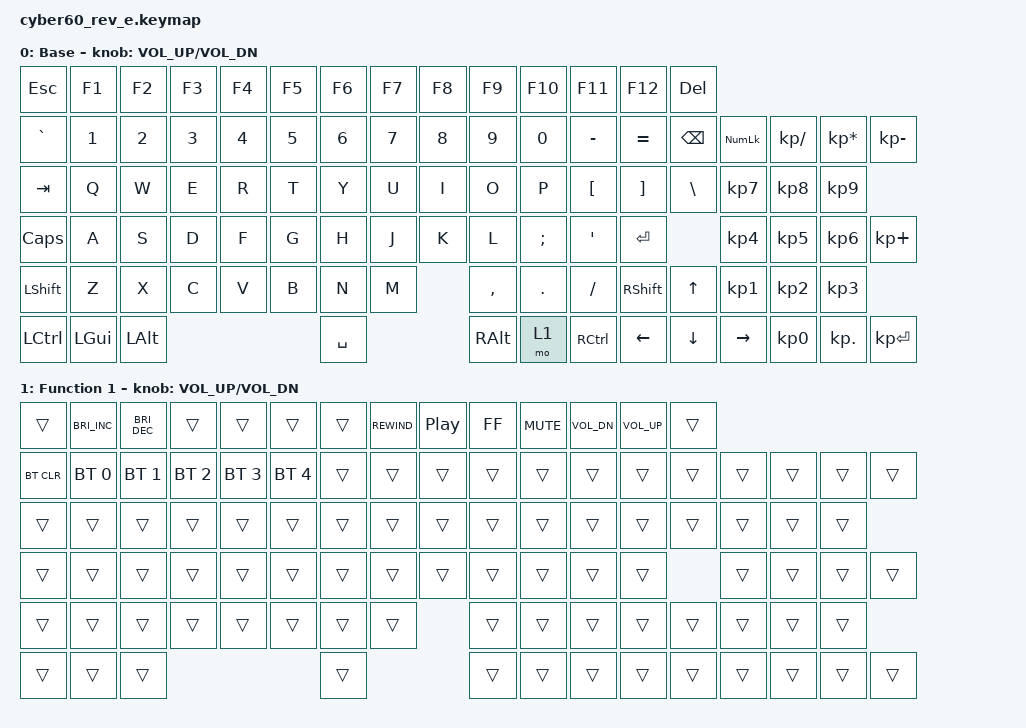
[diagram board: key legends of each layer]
#include <behaviors.dtsi>
#include <dt-bindings/zmk/bt.h>
#include <dt-bindings/zmk/keys.h>
#include <dt-bindings/zmk/rgb.h>



/ {  
    sensors: sensors {
        compatible = "zmk,keymap-sensors";
        sensors = <&encoder_1>;
        triggers-per-rotation = <20>;
    };
 
    keymap {
        compatible = "zmk,keymap";
        default_layer {
           // Layer 0, default layer
    // | Esc  |  F1  |  F2  |  F3  |  F4  |  F5  |  F6  |  F7  |  F8  |  F9  |  F10 |  F11 |  F12 |Print | Home | End  |Insert|Delete| PgUp | 19 keys
    // |  ~`  |   1  |   2  |   3  |   4  |   5  |   6  |   7  |   8  |   9  |    0 |    - |    = |    BkSpc    |NumLck|   /  |   *  | PgDn | 18 keys
    // |   Tab   |   Q  |   W  |   E  |   R  |   T  |   Y  |   U  |   I  |   O  |    P |    { |    } |     \    |  7   |   8  |   9  |   -  | 18 keys
    // |   Caps   |   A  |   S  |   D  |   F  |   G  |   H  |   J  |   K  |   L  |    ; |   '  |     Return     |  4   |   5  |   6  |   +  | 17 keys
    //  |    LShft     |   Z  |   X  |   C  |   V  |   B  |   N  |   M  |   ,  |   .  |   /  |       RShft       |  1   |   2  |   3  |  En  | 16 keys
    //  | Ctrl  |  Win  |  Alt  |                  Space                      |  Fn  |  Win | Left | Down |  Up  | Right|   0  |   .  |      | 12 keys
            display-name = "Base";
            bindings = <
&kp ESC     &kp F1    &kp F2    &kp F3     &kp F4      &kp F5      &kp F6        &kp F7      &kp F8      &kp  F9     &kp F10        &kp F11      &kp F12       &kp DEL   
&kp GRAVE   &kp N1    &kp N2    &kp N3     &kp N4      &kp N5      &kp N6        &kp N7      &kp N8      &kp  N9     &kp N0         &kp MINUS    &kp EQUAL     &kp BSPC      &kp KP_NLCK    &kp KP_DIVIDE      &kp KP_MULTIPLY     &kp KP_MINUS
&kp TAB     &kp Q     &kp W     &kp E      &kp R       &kp T       &kp Y         &kp U       &kp I       &kp  O      &kp P          &kp LBKT     &kp RBKT      &kp BSLH      &kp KP_N7      &kp KP_N8          &kp KP_N9         
&kp CAPS    &kp A     &kp S     &kp D      &kp F       &kp G       &kp H         &kp J       &kp K       &kp  L      &kp SEMI       &kp SQT      &kp ENTER                   &kp KP_N4      &kp KP_N5          &kp KP_N6           &kp KP_PLUS
&kp LSHIFT            &kp Z     &kp X       &kp C      &kp V       &kp B         &kp N       &kp M       &kp COMMA   &kp DOT        &kp SLASH    &kp RSHIFT    &kp  UP       &kp KP_N1      &kp KP_N2          &kp KP_N3          
&kp LCTRL   &kp LGUI  &kp LALT                                     &kp SPACE                             &kp RALT    &mo 1          &kp RCTRL    &kp LEFT      &kp DOWN      &kp RIGHT      &kp KP_N0          &kp KP_DOT          &kp KP_ENTER
            >;

            sensor-bindings = <&inc_dec_kp C_VOL_UP C_VOL_DN>;
        };

        fn_layer_0 {
            display-name = "Function 1";
      
   bindings = <
&trans        &kp C_BRI_INC   &kp C_BRI_DEC   &trans           &trans            &trans             &trans        &kp C_REWIND       &kp C_PP     &kp C_FF    &kp C_MUTE     &kp C_VOL_DN  &kp C_VOL_UP       &trans    
&bt BT_CLR    &bt BT_SEL 0    &bt BT_SEL 1    &bt BT_SEL 2     &bt BT_SEL 3      &bt BT_SEL 4       &trans        &trans             &trans       &trans      &trans         &trans        &trans             &trans        &trans           &trans             &trans               &trans
&trans        &trans          &trans          &trans           &trans            &trans             &trans        &trans             &trans       &trans      &trans         &trans        &trans             &trans        &trans           &trans             &trans        
&trans        &trans          &trans          &trans           &trans            &trans             &trans        &trans             &trans       &trans      &trans         &trans        &trans                           &trans           &trans             &trans               &trans
&trans                        &trans          &trans           &trans            &trans             &trans        &trans             &trans       &trans      &trans         &trans        &trans             &trans        &trans           &trans             &trans          
&trans        &trans          &trans                                                                 &trans                                 &trans      &trans         &trans        &trans             &trans        &trans           &trans             &trans               &trans 
            >;

            sensor-bindings = <&inc_dec_kp C_VOL_UP C_VOL_DN>;
        };
       
       
    };
};
